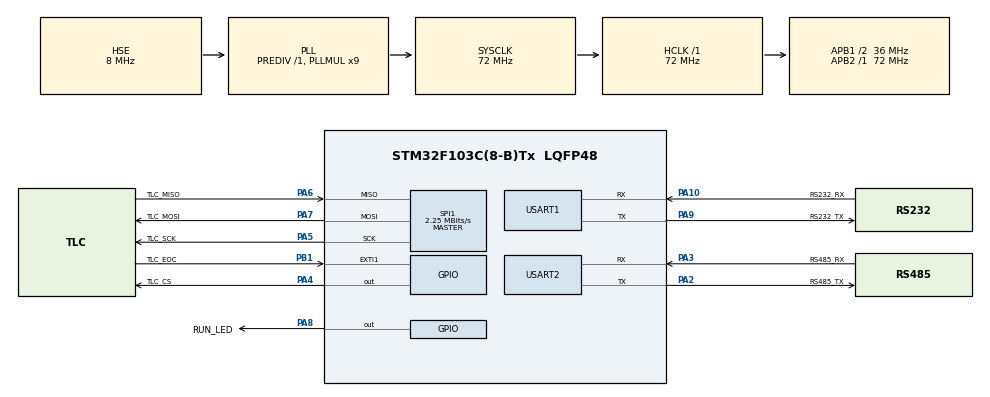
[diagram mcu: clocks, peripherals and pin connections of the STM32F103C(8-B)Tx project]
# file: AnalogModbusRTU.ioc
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Dma.Request0=USART2_RX
Dma.Request1=USART2_TX
Dma.Request2=USART1_RX
Dma.Request3=USART1_TX
Dma.Request4=SPI1_RX
Dma.Request5=SPI1_TX
Dma.SPI1_RX.4.Direction=DMA_PERIPH_TO_MEMORY
Dma.SPI1_RX.4.Instance=DMA1_Channel2
Dma.SPI1_RX.4.MemDataAlignment=DMA_MDATAALIGN_BYTE
Dma.SPI1_RX.4.MemInc=DMA_MINC_ENABLE
Dma.SPI1_RX.4.Mode=DMA_NORMAL
Dma.SPI1_RX.4.PeriphDataAlignment=DMA_PDATAALIGN_BYTE
Dma.SPI1_RX.4.PeriphInc=DMA_PINC_DISABLE
Dma.SPI1_RX.4.Priority=DMA_PRIORITY_HIGH
Dma.SPI1_TX.5.Direction=DMA_MEMORY_TO_PERIPH
Dma.SPI1_TX.5.Instance=DMA1_Channel3
Dma.SPI1_TX.5.MemDataAlignment=DMA_MDATAALIGN_BYTE
Dma.SPI1_TX.5.MemInc=DMA_MINC_ENABLE
Dma.SPI1_TX.5.Mode=DMA_NORMAL
Dma.SPI1_TX.5.PeriphDataAlignment=DMA_PDATAALIGN_BYTE
Dma.SPI1_TX.5.PeriphInc=DMA_PINC_DISABLE
Dma.SPI1_TX.5.Priority=DMA_PRIORITY_HIGH
Dma.USART1_RX.2.Direction=DMA_PERIPH_TO_MEMORY
Dma.USART1_RX.2.Instance=DMA1_Channel5
Dma.USART1_RX.2.MemDataAlignment=DMA_MDATAALIGN_BYTE
Dma.USART1_RX.2.MemInc=DMA_MINC_ENABLE
Dma.USART1_RX.2.Mode=DMA_NORMAL
Dma.USART1_RX.2.PeriphDataAlignment=DMA_PDATAALIGN_BYTE
Dma.USART1_RX.2.PeriphInc=DMA_PINC_DISABLE
Dma.USART1_RX.2.Priority=DMA_PRIORITY_MEDIUM
Dma.USART1_TX.3.Direction=DMA_MEMORY_TO_PERIPH
Dma.USART1_TX.3.Instance=DMA1_Channel4
Dma.USART1_TX.3.MemDataAlignment=DMA_MDATAALIGN_BYTE
Dma.USART1_TX.3.MemInc=DMA_MINC_ENABLE
Dma.USART1_TX.3.Mode=DMA_NORMAL
Dma.USART1_TX.3.PeriphDataAlignment=DMA_PDATAALIGN_BYTE
Dma.USART1_TX.3.PeriphInc=DMA_PINC_DISABLE
Dma.USART1_TX.3.Priority=DMA_PRIORITY_MEDIUM
Dma.USART2_RX.0.Direction=DMA_PERIPH_TO_MEMORY
Dma.USART2_RX.0.Instance=DMA1_Channel6
Dma.USART2_RX.0.MemDataAlignment=DMA_MDATAALIGN_BYTE
Dma.USART2_RX.0.MemInc=DMA_MINC_ENABLE
Dma.USART2_RX.0.Mode=DMA_NORMAL
Dma.USART2_RX.0.PeriphDataAlignment=DMA_PDATAALIGN_BYTE
Dma.USART2_RX.0.PeriphInc=DMA_PINC_DISABLE
Dma.USART2_RX.0.Priority=DMA_PRIORITY_MEDIUM
Dma.USART2_TX.1.Direction=DMA_MEMORY_TO_PERIPH
Dma.USART2_TX.1.Instance=DMA1_Channel7
Dma.USART2_TX.1.MemDataAlignment=DMA_MDATAALIGN_BYTE
Dma.USART2_TX.1.MemInc=DMA_MINC_ENABLE
Dma.USART2_TX.1.Mode=DMA_NORMAL
Dma.USART2_TX.1.PeriphDataAlignment=DMA_PDATAALIGN_BYTE
Dma.USART2_TX.1.PeriphInc=DMA_PINC_DISABLE
Dma.USART2_TX.1.Priority=DMA_PRIORITY_MEDIUM
FREERTOS.Queues01=ADC_Queue,1,ADC_Value,0,Dynamic,NULL,NULL;U2Rx_Queue,16,U2Rx_SBuff,0,Dynamic,NULL,NULL;ModbusOneReg_Queue,10,ModbusOneReg_Struct,0,Dynamic,NULL,NULL;AnalogInputDataQueue,1,AnalogData_Struct,0,Dynamic,NULL,NULL
FREERTOS.Tasks01=defaultTask,24,128,StartDefaultTask,Default,NULL,Dynamic,NULL,NULL;RUNTask,8,128,Run_LedTask,Default,NULL,Dynamic,NULL,NULL;ADCReadTask,32,256,ADC_ReadTask,Default,NULL,Dynamic,NULL,NULL;IWDGRefreshTask,8,128,IWDG_RefreshTask,Default,NULL,Dynamic,NULL,NULL;Usart2TxRxTask,24,256,Usart2TxRx_Task,Default,NULL,Dynamic,NULL,NULL;HoldRegTask,25,256,HoldReg_Task,Default,NULL,Dynamic,NULL,NULL
FREERTOS.configTOTAL_HEAP_SIZE=10240
Mcu.Family=STM32F1
Mcu.Name=STM32F103C(8-B)Tx
Mcu.Package=LQFP48
NVIC.DMA1_Channel2_IRQn=true\:5\:0\:false\:false\:true\:true\:false\:true\:true
NVIC.DMA1_Channel3_IRQn=true\:5\:0\:false\:false\:true\:true\:false\:true\:true
NVIC.DMA1_Channel4_IRQn=true\:5\:0\:false\:false\:true\:true\:false\:true\:true
NVIC.DMA1_Channel5_IRQn=true\:5\:0\:false\:false\:true\:true\:false\:true\:true
NVIC.DMA1_Channel6_IRQn=true\:5\:0\:false\:false\:true\:true\:false\:true\:true
NVIC.DMA1_Channel7_IRQn=true\:5\:0\:false\:false\:true\:true\:false\:true\:true
NVIC.EXTI1_IRQn=true\:7\:0\:true\:false\:true\:true\:true\:true\:true
NVIC.PriorityGroup=NVIC_PRIORITYGROUP_4
NVIC.SPI1_IRQn=true\:5\:0\:true\:false\:true\:true\:true\:true\:true
NVIC.TIM2_IRQn=true\:6\:0\:true\:false\:true\:true\:true\:true\:true
NVIC.TIM4_IRQn=true\:15\:0\:true\:false\:true\:false\:false\:true\:true
NVIC.TimeBase=TIM4_IRQn
NVIC.TimeBaseIP=TIM4
NVIC.USART1_IRQn=true\:5\:0\:true\:false\:true\:true\:false\:true\:true
NVIC.USART2_IRQn=true\:5\:0\:true\:false\:true\:true\:false\:true\:true
PA10.GPIO_Label=RS232_RX
PA10.Mode=Asynchronous
PA10.Signal=USART1_RX
PA13.Mode=Serial_Wire
PA13.Signal=SYS_JTMS-SWDIO
PA14.Mode=Serial_Wire
PA14.Signal=SYS_JTCK-SWCLK
PA2.GPIO_Label=RS485_TX
PA2.Mode=Asynchronous
PA2.Signal=USART2_TX
PA3.GPIO_Label=RS485_RX
PA3.Mode=Asynchronous
PA3.Signal=USART2_RX
PA4.GPIO_Label=TLC_CS
PA4.GPIO_Speed=GPIO_SPEED_FREQ_HIGH
PA4.PinState=GPIO_PIN_SET
PA4.Signal=GPIO_Output
PA5.GPIO_Label=TLC_SCK
PA5.Mode=Full_Duplex_Master
PA5.Signal=SPI1_SCK
PA6.GPIO_Label=TLC_MISO
PA6.Mode=Full_Duplex_Master
PA6.Signal=SPI1_MISO
PA7.GPIO_Label=TLC_MOSI
PA7.Mode=Full_Duplex_Master
PA7.Signal=SPI1_MOSI
PA8.GPIO_Label=RUN_LED
PA8.GPIO_Speed=GPIO_SPEED_FREQ_MEDIUM
PA8.PinState=GPIO_PIN_SET
PA8.Signal=GPIO_Output
PA9.GPIO_Label=RS232_TX
PA9.Mode=Asynchronous
PA9.Signal=USART1_TX
PB1.GPIO_Label=TLC_EOC
PB1.GPIO_PuPd=GPIO_PULLUP
PB1.Signal=GPXTI1
PD0-OSC_IN.Mode=HSE-External-Oscillator
PD0-OSC_IN.Signal=RCC_OSC_IN
PD1-OSC_OUT.Mode=HSE-External-Oscillator
PD1-OSC_OUT.Signal=RCC_OSC_OUT
ProjectManager.HeapSize=0x200
ProjectManager.StackSize=0x400
ProjectManager.TargetToolchain=MDK-ARM V5.32
RCC.AHBFreq_Value=72000000
RCC.APB1CLKDivider=RCC_HCLK_DIV2
RCC.APB1Freq_Value=36000000
RCC.APB1TimFreq_Value=72000000
RCC.APB2Freq_Value=72000000
RCC.APB2TimFreq_Value=72000000
RCC.EnbaleCSS=true
RCC.HCLKFreq_Value=72000000
RCC.PLLMUL=RCC_PLL_MUL9
RCC.PLLSourceVirtual=RCC_PLLSOURCE_HSE
RCC.SYSCLKFreq_VALUE=72000000
RCC.SYSCLKSource=RCC_SYSCLKSOURCE_PLLCLK
RCC.USBFreq_Value=72000000
SPI1.BaudRatePrescaler=SPI_BAUDRATEPRESCALER_32
SPI1.CalculateBaudRate=2.25 MBits/s
SPI1.Direction=SPI_DIRECTION_2LINES
SPI1.Mode=SPI_MODE_MASTER
SPI1.VirtualType=VM_MASTER
TIM2.AutoReloadPreload=TIM_AUTORELOAD_PRELOAD_DISABLE
TIM2.ClockDivision=TIM_CLOCKDIVISION_DIV1
TIM2.Period=100-1
TIM2.Prescaler=72-1
USART1.VirtualMode=VM_ASYNC
USART2.VirtualMode=VM_ASYNC
VP_FREERTOS_VS_CMSIS_V2.Mode=CMSIS_V2
VP_IWDG_VS_IWDG.Mode=IWDG_Activate
VP_SYS_VS_tim4.Mode=TIM4
VP_TIM2_VS_ClockSourceINT.Mode=Internal
board=custom

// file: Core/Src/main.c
/* USER CODE BEGIN Header */
/**
  ******************************************************************************
  * @file           : main.c
  * @brief          : Main program body
  ******************************************************************************
  * @attention
  *
  * Copyright (c) 2025 STMicroelectronics.
  * All rights reserved.
  *
  * This software is licensed under terms that can be found in the LICENSE file
  * in the root directory of this software component.
  * If no LICENSE file comes with this software, it is provided AS-IS.
  *
  ******************************************************************************
  */
/* USER CODE END Header */
#include "main.h"
#include "cmsis_os.h"
#include "dma.h"
#include "iwdg.h"
#include "spi.h"
#include "tim.h"
#include "usart.h"
#include "gpio.h"

void SystemClock_Config(void);
void MX_FREERTOS_Init(void);

int main(void)
{

  /* MCU Configuration--------------------------------------------------------*/

  /* Reset of all peripherals, Initializes the Flash interface and the Systick. */
  HAL_Init();

  /* Configure the system clock */
  SystemClock_Config();

  /* Initialize all configured peripherals */
  MX_GPIO_Init();
  MX_DMA_Init();
  MX_SPI1_Init();
  MX_USART1_UART_Init();
  MX_USART2_UART_Init();
  MX_TIM2_Init();
  MX_IWDG_Init();

  /* Init scheduler */
  osKernelInitialize();

  /* Call init function for freertos objects (in cmsis_os2.c) */
  MX_FREERTOS_Init();

  /* Start scheduler */
  osKernelStart();

  /* We should never get here as control is now taken by the scheduler */

  /* Infinite loop */
  while (1)
  {

  }
}

void SystemClock_Config(void)
{
  RCC_OscInitTypeDef RCC_OscInitStruct = {0};
  RCC_ClkInitTypeDef RCC_ClkInitStruct = {0};

  /** Initializes the RCC Oscillators according to the specified parameters
  * in the RCC_OscInitTypeDef structure.
  */
  RCC_OscInitStruct.OscillatorType = RCC_OSCILLATORTYPE_LSI|RCC_OSCILLATORTYPE_HSE;
  RCC_OscInitStruct.HSEState = RCC_HSE_ON;
  RCC_OscInitStruct.HSEPredivValue = RCC_HSE_PREDIV_DIV1;
  RCC_OscInitStruct.HSIState = RCC_HSI_ON;
  RCC_OscInitStruct.LSIState = RCC_LSI_ON;
  RCC_OscInitStruct.PLL.PLLState = RCC_PLL_ON;
  RCC_OscInitStruct.PLL.PLLSource = RCC_PLLSOURCE_HSE;
  RCC_OscInitStruct.PLL.PLLMUL = RCC_PLL_MUL9;
  if (HAL_RCC_OscConfig(&RCC_OscInitStruct) != HAL_OK)
  {
    Error_Handler();
  }

  /** Initializes the CPU, AHB and APB buses clocks
  */
  RCC_ClkInitStruct.ClockType = RCC_CLOCKTYPE_HCLK|RCC_CLOCKTYPE_SYSCLK
                              |RCC_CLOCKTYPE_PCLK1|RCC_CLOCKTYPE_PCLK2;
  RCC_ClkInitStruct.SYSCLKSource = RCC_SYSCLKSOURCE_PLLCLK;
  RCC_ClkInitStruct.AHBCLKDivider = RCC_SYSCLK_DIV1;
  RCC_ClkInitStruct.APB1CLKDivider = RCC_HCLK_DIV2;
  RCC_ClkInitStruct.APB2CLKDivider = RCC_HCLK_DIV1;

  if (HAL_RCC_ClockConfig(&RCC_ClkInitStruct, FLASH_LATENCY_2) != HAL_OK)
  {
    Error_Handler();
  }

  /** Enables the Clock Security System
  */
  HAL_RCC_EnableCSS();
}

void HAL_TIM_PeriodElapsedCallback(TIM_HandleTypeDef *htim)
{
  if (htim->Instance == TIM4)
  {
    HAL_IncTick();
  }
}

void Error_Handler(void)
{
  __disable_irq();
  while (1)
  {
  }
}

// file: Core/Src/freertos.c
/* USER CODE BEGIN Header */
/**
 ******************************************************************************
 * File Name          : freertos.c
 * Description        : Code for freertos applications
 ******************************************************************************
 * @attention
 *
 * Copyright (c) 2025 STMicroelectronics.
 * All rights reserved.
 *
 * This software is licensed under terms that can be found in the LICENSE file
 * in the root directory of this software component.
 * If no LICENSE file comes with this software, it is provided AS-IS.
 *
 ******************************************************************************
 */
/* USER CODE END Header */

#include "FreeRTOS.h"
#include "task.h"
#include "main.h"
#include "cmsis_os.h"

/* USER CODE BEGIN Includes */
#include "gpio.h"
#include "usart.h"
#include "tim.h"
#include "spi.h"
#include "iwdg.h"
#include "tlc2543.h"
#include "modbus.h"

#include "queue.h"
#include "semphr.h"
#include "timers.h"
#include "event_groups.h"

#include <string.h>
/* USER CODE END Includes */

/* USER CODE BEGIN PD */

#define MODBUS_ONEREG_QUEUE_LENGHT 10   /* MODBUS OneReg 命令传输 队列深度 */
#define ANALOG_INPUTDATA_QUEUE_LENGHT 1 /* 模拟量输入压力 数据传输 队列深度 */
#define QUEUESET_LENGHT MODBUS_ONEREG_QUEUE_LENGHT + ANALOG_INPUTDATA_QUEUE_LENGHT
/* USER CODE END PD */

/* USER CODE BEGIN Variables */

static QueueSetHandle_t QueueSet_Handle; /* 声明队列集句柄 */

/* USER CODE END Variables */
/* Definitions for defaultTask */
osThreadId_t defaultTaskHandle;
const osThreadAttr_t defaultTask_attributes = {
  .name = "defaultTask",
  .stack_size = 128 * 4,
  .priority = (osPriority_t) osPriorityNormal,
};
/* Definitions for RUNTask */
osThreadId_t RUNTaskHandle;
const osThreadAttr_t RUNTask_attributes = {
  .name = "RUNTask",
  .stack_size = 128 * 4,
  .priority = (osPriority_t) osPriorityLow,
};
/* Definitions for ADCReadTask */
osThreadId_t ADCReadTaskHandle;
const osThreadAttr_t ADCReadTask_attributes = {
  .name = "ADCReadTask",
  .stack_size = 256 * 4,
  .priority = (osPriority_t) osPriorityAboveNormal,
};
/* Definitions for IWDGRefreshTask */
osThreadId_t IWDGRefreshTaskHandle;
const osThreadAttr_t IWDGRefreshTask_attributes = {
  .name = "IWDGRefreshTask",
  .stack_size = 128 * 4,
  .priority = (osPriority_t) osPriorityLow,
};
/* Definitions for Usart2TxRxTask */
osThreadId_t Usart2TxRxTaskHandle;
const osThreadAttr_t Usart2TxRxTask_attributes = {
  .name = "Usart2TxRxTask",
  .stack_size = 256 * 4,
  .priority = (osPriority_t) osPriorityNormal,
};
/* Definitions for HoldRegTask */
osThreadId_t HoldRegTaskHandle;
const osThreadAttr_t HoldRegTask_attributes = {
  .name = "HoldRegTask",
  .stack_size = 256 * 4,
  .priority = (osPriority_t) osPriorityNormal1,
};
/* Definitions for ADC_Queue */
osMessageQueueId_t ADC_QueueHandle;
const osMessageQueueAttr_t ADC_Queue_attributes = {
  .name = "ADC_Queue"
};
/* Definitions for U2Rx_Queue */
osMessageQueueId_t U2Rx_QueueHandle;
const osMessageQueueAttr_t U2Rx_Queue_attributes = {
  .name = "U2Rx_Queue"
};
/* Definitions for ModbusOneReg_Queue */
osMessageQueueId_t ModbusOneReg_QueueHandle;
const osMessageQueueAttr_t ModbusOneReg_Queue_attributes = {
  .name = "ModbusOneReg_Queue"
};
/* Definitions for AnalogInputDataQueue */
osMessageQueueId_t AnalogInputDataQueueHandle;
const osMessageQueueAttr_t AnalogInputDataQueue_attributes = {
  .name = "AnalogInputDataQueue"
};

void StartDefaultTask(void *argument);
void Run_LedTask(void *argument);
void ADC_ReadTask(void *argument);
void IWDG_RefreshTask(void *argument);
void Usart2TxRx_Task(void *argument);
void HoldReg_Task(void *argument);

void MX_FREERTOS_Init(void); /* (MISRA C 2004 rule 8.1) */

void MX_FREERTOS_Init(void) {
  /* USER CODE BEGIN Init */
  BaseType_t err = pdFAIL;
  /* USER CODE END Init */

  /* USER CODE BEGIN RTOS_SEMAPHORES */
  /* add semaphores, ... */

  QueueSet_Handle = xQueueCreateSet(QUEUESET_LENGHT); /* 创建 任务集 */
  if (QueueSet_Handle == NULL)
    printf("QueueSet_Handle Create False !\r\n");

  /* USER CODE END RTOS_SEMAPHORES */

  /* Create the queue(s) */
  /* creation of ADC_Queue */
  ADC_QueueHandle = osMessageQueueNew (1, sizeof(ADC_Value), &ADC_Queue_attributes);

  /* creation of U2Rx_Queue */
  U2Rx_QueueHandle = osMessageQueueNew (16, sizeof(U2Rx_SBuff), &U2Rx_Queue_attributes);

  /* creation of ModbusOneReg_Queue */
  ModbusOneReg_QueueHandle = osMessageQueueNew (10, sizeof(ModbusOneReg_Struct), &ModbusOneReg_Queue_attributes);

  /* creation of AnalogInputDataQueue */
  AnalogInputDataQueueHandle = osMessageQueueNew (1, sizeof(AnalogData_Struct), &AnalogInputDataQueue_attributes);

  /* USER CODE BEGIN RTOS_QUEUES */
  /* add queues, ... */
  err = xQueueAddToSet(ModbusOneReg_QueueHandle, QueueSet_Handle);
  if (err != pdTRUE)
    printf("ModbusOneReg_QueueHandle AddToSet False!\r\n");
  err = xQueueAddToSet(AnalogInputDataQueueHandle, QueueSet_Handle);
  if (err != pdTRUE)
    printf("AnalogInputDataQueueHandle AddToSet False!\r\n");

  /* USER CODE END RTOS_QUEUES */

  /* Create the thread(s) */
  /* creation of defaultTask */
  defaultTaskHandle = osThreadNew(StartDefaultTask, NULL, &defaultTask_attributes);

  /* creation of RUNTask */
  RUNTaskHandle = osThreadNew(Run_LedTask, NULL, &RUNTask_attributes);

  /* creation of ADCReadTask */
  ADCReadTaskHandle = osThreadNew(ADC_ReadTask, NULL, &ADCReadTask_attributes);

  /* creation of IWDGRefreshTask */
  IWDGRefreshTaskHandle = osThreadNew(IWDG_RefreshTask, NULL, &IWDGRefreshTask_attributes);

  /* creation of Usart2TxRxTask */
  Usart2TxRxTaskHandle = osThreadNew(Usart2TxRx_Task, NULL, &Usart2TxRxTask_attributes);

  /* creation of HoldRegTask */
  HoldRegTaskHandle = osThreadNew(HoldReg_Task, NULL, &HoldRegTask_attributes);

}

void StartDefaultTask(void *argument)
{
  for (;;)
  {
    osDelay(1);
  }
}

void Run_LedTask(void *argument)
{
  /* USER CODE BEGIN Run_LedTask */
  /* Infinite loop */
  for (;;)
  {
    RUN_LED(0);
    osDelay(50);
    RUN_LED(1);
    osDelay(50);
    RUN_LED(0);
    osDelay(50);
    RUN_LED(1);
    osDelay(800);
  }
  /* USER CODE END Run_LedTask */
}

void ADC_ReadTask(void *argument)
{
  /* USER CODE BEGIN ADC_ReadTask */
  /* Infinite loop */
  BaseType_t err;
  static uint16_t adc_data[ADC_NUM];
  static AnalogData_Struct analog_data;

  osDelay(1000);
  tlc2543_Spi1_Start(); /* SPI1_DMA 数据读取开始 */
  for (;;)
  {
    err = xQueueReceive(ADC_QueueHandle, adc_data, 1000);
    if (err != pdTRUE)
    {
      printf("ADC_QueueHandle Receive false !\r\n");
      tlc2543_Spi1_Stop();  /* SPI1_DMA 数据读取停止 */
      tlc2543_Spi1_Start(); /* SPI1_DMA 数据读取开始 */
    }

    adc_Get_Average(adc_data);    /* ADC 1ms 毫秒4次轮询采样算数平均值计算 */
    adc_LowPass_Filter(adc_data); /* ADC 一阶低通滤波 [9~17]原值  [18~26]} 数字一阶滤波结果 */
    // static uint16_t data[10] = {0x00};
    // data[0] = 0x0201;
    // data[1] = adc_data[0 + 18];
    // data[2] = adc_data[1 + 18];
    // data[3] = adc_data[2 + 18];
    // data[4] = adc_data[3 + 18];
    // data[5] = adc_data[4 + 18];
    // data[6] = adc_data[5 + 18];
    // data[7] = adc_data[6 + 18];
    // data[8] = adc_data[7 + 18];
    // data[9] = adc_data[8 + 18];
    // HAL_UART_Transmit_DMA(&huart1, (uint8_t *)data, sizeof(data));

    adc_ConvertToData(adc_data + 18, analog_data.data);
    // static uint16_t data[10] = {0x00};
    // data[0] = 0x0201;
    // data[1] = analog_data.data[0];
    // data[2] = analog_data.data[1];
    // data[3] = analog_data.data[2];
    // data[4] = analog_data.data[3];
    // data[5] = analog_data.data[4];
    // data[6] = analog_data.data[5];
    // data[7] = analog_data.data[6];
    // data[8] = analog_data.data[7];
    // data[9] = analog_data.data[8];
    // HAL_UART_Transmit_DMA(&huart1, (uint8_t *)analog_data.data, sizeof(analog_data.data));
    err = xQueueOverwrite(AnalogInputDataQueueHandle, &analog_data);
    if (err != pdTRUE)
      printf("AnalogInputDataQueueHandle OverWrite false!\r\n");
    osDelay(10);
  }
  /* USER CODE END ADC_ReadTask */
}

void IWDG_RefreshTask(void *argument)
{
  /* USER CODE BEGIN IWDG_RefreshTask */
  /* Infinite loop */
  for (;;)
  {
    HAL_IWDG_Refresh(&hiwdg);
    osDelay(200);
  }
  /* USER CODE END IWDG_RefreshTask */
}

void Usart2TxRx_Task(void *argument)
{
  /* USER CODE BEGIN Usart2TxRx_Task */
  /* Infinite loop */
  // uint8_t i;
  static U2Rx_Struct rx_sbuff;                                       /* 串口接受局部变量结构体 */
  HAL_UART_Receive_DMA(&huart2, U2Rx_SBuff.buf, USART2_RXBUFF_SIZE); /* 启动DMA 串口数据接收 8 字节 */
  xQueueReset(U2Rx_QueueHandle);
  for (;;)
  {
    xQueueReceive(U2Rx_QueueHandle, &rx_sbuff, portMAX_DELAY); /* 接收 串口空闲中断传输的参数 */
    // printf("%d\t", rx_sbuff.len);
    // for (i = 0; i < rx_sbuff.len - 1; i++)
    //   printf("%02X ", rx_sbuff.buf[i]);
    // printf("%02X\r\n", rx_sbuff.buf[i]);

    Modbus_Analysis((uint8_t *)rx_sbuff.buf, (uint8_t)rx_sbuff.len); /* Modbus-RTU 数据解析 */

    osDelay(1);
  }
  /* USER CODE END Usart2TxRx_Task */
}

void HoldReg_Task(void *argument)
{
  /* USER CODE BEGIN HoldReg_Task */
  /* Infinite loop */
  static ModbusOneReg_Struct modSReg;
  static AnalogData_Struct analogData;
  QueueSetMemberHandle_t activate_member;

  for (;;)
  {
    activate_member = xQueueSelectFromSet(QueueSet_Handle, portMAX_DELAY); /* 阻塞等待 队列集 */
    if (activate_member == ModbusOneReg_QueueHandle)
    {
      xQueueReceive(ModbusOneReg_QueueHandle, &modSReg, portMAX_DELAY); /* 队列数据长度 ModbusOneReg_Struct结构体 */
      // taskENTER_CRITICAL();
      // printf("%d %d %d\r\n", modSReg.command, modSReg.startAddr, modSReg.regNum);
      // taskEXIT_CRITICAL();
      if (modSReg.command == 0x03) /* 0x03 读取寄存器功能码 */
      {
        Modbus_03Reply(modSReg); /* 0x03 功能码 回复函数 */
      }
      else if (modSReg.command == 0x06) /* 0x06 单个写入寄存器功能码 */
      {
        Modbus_06Reply(modSReg); /* 0x06 功能码 回复函数 */
      }
    }
    else if (activate_member == AnalogInputDataQueueHandle)
    {
      xQueueReceive(AnalogInputDataQueueHandle, &analogData, portMAX_DELAY); /* 队列数据长度 AnalogData_Struct 结构体 */

      // printf("%d\r\n", analogData.data[0]);
      for (uint8_t i = 0; i < MODBUS_REG; i++)
      {
        Modbus_Hold_Reg[i] = (uint16_t)analogData.data[i];
      }
    }

    osDelay(1);
  }
  /* USER CODE END HoldReg_Task */
}
